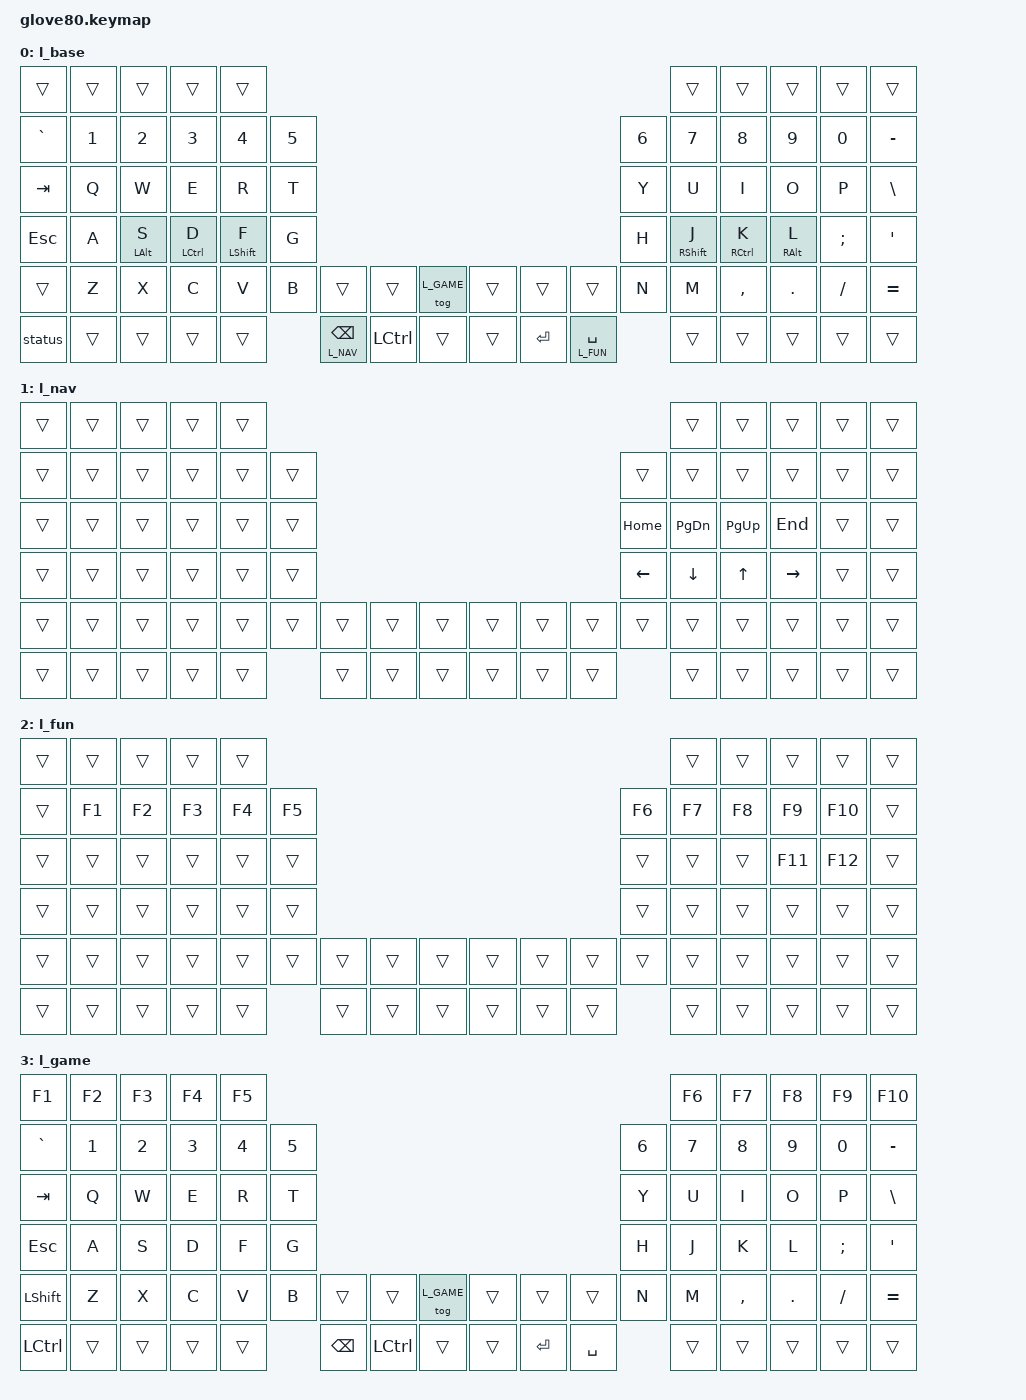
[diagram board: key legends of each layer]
/*
 * Copyright (c) 2020 The ZMK Contributors
 *
 * SPDX-License-Identifier: MIT
 */

#include <behaviors.dtsi>
#include <dt-bindings/zmk/bt.h>
#include <dt-bindings/zmk/keys.h>
#include <dt-bindings/zmk/outputs.h>
#include <dt-bindings/zmk/rgb.h>

// layers
#define L_BASE 0
#define L_NAV 1
#define L_FUN 2
#define L_GAME 3

// To deal with the situation where there is no Lower layer, to keep &lower happy
#ifndef L_Lower
#define L_Lower 0
#endif

// Aliases
#define HRM_S &hml LALT S
#define HRM_D &hml LCTRL D
#define HRM_F &qhml LSHFT F

#define HRM_J &qhmr RSHFT J
#define HRM_K &hmr RCTRL K
#define HRM_L &hmr RALT L

#define _________ &trans
#define NAV_BS &lt L_NAV BSPC
#define FUN_SPC &lt L_FUN SPACE
#define TOG_GAME &tog L_GAME

&caps_word {
    continue-list = <UNDERSCORE MINUS BACKSPACE DELETE>;
    mods = <MOD_LSFT>;
};

/ {
    behaviors {
        // For the "layer" key, it'd nice to be able to use it as either a shift or a toggle.
        // Configure it as a tap dance, so the first tap (or hold) is a &mo and the second tap is a &to
        lt: layer_tap {
            compatible = "zmk,behavior-hold-tap";
            #binding-cells = <2>;
            flavor = "tap-preferred";
            tapping-term-ms = <200>;
            bindings = <&mo>, <&kp>;
            display-name = "Layer-Tap";
        };

        hml: home_row_mod_left {
            compatible = "zmk,behavior-hold-tap";
            #binding-cells = <2>;
            flavor = "balanced";
            require-prior-idle-ms = <150>;
            tapping-term-ms = <280>;
            bindings = <&kp>, <&kp>;
            hold-trigger-key-positions = <
                            5  6  7  8  9
                         16 17 18 19 20 21
                         28 29 30 31 32 33
                         40 41 42 43 44 45
                55 55 57 58 59 60 61 62 63
                72 73 74    75 76 77 78 79
            >;
            hold-trigger-on-release;
        };

        hmr: home_row_mod_right {
            compatible = "zmk,behavior-hold-tap";
            #binding-cells = <2>;
            flavor = "balanced";
            require-prior-idle-ms = <150>;
            tapping-term-ms = <280>;
            quick-tap-ms = <175>;
            bindings = <&kp>, <&kp>;
            hold-trigger-key-positions = <
                   0  1  2  3  4
                10 11 12 13 14 15
                22 23 24 25 26 27
                34 35 36 37 38 39
                46 47 48 49 50 51 52 53 54
                64 65 66 67 68    69 70 71
            >;
            hold-trigger-on-release;
        };

        qhml: quick_home_row_mod_left {
            compatible = "zmk,behavior-hold-tap";
            #binding-cells = <2>;
            flavor = "balanced";
            tapping-term-ms = <235>;
            bindings = <&kp>, <&kp>;
            hold-trigger-key-positions = <
                            5  6  7  8  9
                         16 17 18 19 20 21
                         28 29 30 31 32 33
                         40 41 42 43 44 45
                55 55 57 58 59 60 61 62 63
                72 73 74    75 76 77 78 79
            >;
            hold-trigger-on-release;
        };

        qhmr: quick_home_row_mod_right {
            compatible = "zmk,behavior-hold-tap";
            #binding-cells = <2>;
            flavor = "balanced";
            tapping-term-ms = <235>;
            quick-tap-ms = <175>;
            bindings = <&kp>, <&kp>;
            hold-trigger-key-positions = <
                   0  1  2  3  4
                10 11 12 13 14 15
                22 23 24 25 26 27
                34 35 36 37 38 39
                46 47 48 49 50 51 52 53 54
                64 65 66 67 68    69 70 71
            >;
            hold-trigger-on-release;
        };
    };

    macros {
        status: rgb_ug_status_macro {
            compatible = "zmk,behavior-macro";
            #binding-cells = <0>;
            bindings = <&rgb_ug RGB_STATUS>;
        };
    };

    combos {
        compatible = "zmk,combos";

        combo_left_brace {
            key-positions = <48 49>;
            bindings = <&kp LBRC>;
        };

        combo_right_brace {
            key-positions = <49 50>;
            bindings = <&kp RBRC>;
        };

        combo_left_bracket {
            key-positions = <59 60>;
            bindings = <&kp LBKT>;
        };

        combo_right_bracket {
            key-positions = <60 61>;
            bindings = <&kp RBKT>;
        };

        combo_capsword {
            key-positions = <38 41>;
            bindings = <&caps_word>;
        };
    };

    keymap {
        compatible = "zmk,keymap";

        l_base {
            bindings = <
_________ _________ _________ _________ _________                                                                                 _________ _________ _________ _________ _________
&kp GRAVE &kp N1    &kp N2    &kp N3    &kp N4    &kp N5                                                                &kp N6    &kp N7    &kp N8    &kp N9    &kp N0    &kp MINUS
&kp TAB   &kp Q     &kp W     &kp E     &kp R     &kp T                                                                 &kp Y     &kp U     &kp I     &kp O     &kp P     &kp BSLH
&kp ESC   &kp A     HRM_S     HRM_D     HRM_F     &kp G                                                                 &kp H     HRM_J     HRM_K     HRM_L     &kp SEMI  &kp SQT
_________ &kp Z     &kp X     &kp C     &kp V     &kp B     _________ _________ TOG_GAME  _________ _________ _________ &kp N     &kp M     &kp COMMA &kp DOT   &kp FSLH  &kp EQUAL
&status   _________ _________ _________ _________           NAV_BS    &kp LCTRL _________ _________ &kp RET   FUN_SPC             _________ _________ _________ _________ _________
            >;
        };

        l_nav {
            bindings = <
_________ _________ _________ _________ _________                                                                                 _________ _________ _________ _________ _________
_________ _________ _________ _________ _________ _________                                                             _________ _________ _________ _________ _________ _________
_________ _________ _________ _________ _________ _________                                                             &kp HOME  &kp PG_DN &kp PG_UP &kp END   _________ _________
_________ _________ _________ _________ _________ _________                                                             &kp LEFT  &kp DOWN  &kp UP    &kp RIGHT _________ _________
_________ _________ _________ _________ _________ _________ _________ _________ _________ _________ _________ _________ _________ _________ _________ _________ _________ _________
_________ _________ _________ _________ _________           _________ _________ _________ _________ _________ _________           _________ _________ _________ _________ _________
            >;
        };

        l_fun {
            bindings = <
_________ _________ _________ _________ _________                                                                                 _________ _________ _________ _________ _________
_________ &kp F1    &kp F2    &kp F3    &kp F4    &kp F5                                                                &kp F6    &kp F7    &kp F8    &kp F9    &kp F10   _________
_________ _________ _________ _________ _________ _________                                                             _________ _________ _________ &kp F11   &kp F12   _________
_________ _________ _________ _________ _________ _________                                                             _________ _________ _________ _________ _________ _________
_________ _________ _________ _________ _________ _________ _________ _________ _________ _________ _________ _________ _________ _________ _________ _________ _________ _________
_________ _________ _________ _________ _________           _________ _________ _________ _________ _________ _________ _________           _________ _________ _________ _________
            >;
        };

        l_game {
            bindings = <
&kp F1    &kp F2    &kp F3    &kp F4    &kp F5                                                                                    &kp F6    &kp F7    &kp F8    &kp F9    &kp F10
&kp GRAVE &kp N1    &kp N2    &kp N3    &kp N4    &kp N5                                                                &kp N6    &kp N7    &kp N8    &kp N9    &kp N0    &kp MINUS
&kp TAB   &kp Q     &kp W     &kp E     &kp R     &kp T                                                                 &kp Y     &kp U     &kp I     &kp O     &kp P     &kp BSLH
&kp ESC   &kp A     &kp S     &kp D     &kp F     &kp G                                                                 &kp H     &kp J     &kp K     &kp L     &kp SEMI  &kp SQT
&kp LSHFT &kp Z     &kp X     &kp C     &kp V     &kp B     _________ _________ TOG_GAME  _________ _________ _________ &kp N     &kp M     &kp COMMA &kp DOT   &kp FSLH  &kp EQUAL
&kp LCTRL _________ _________ _________ _________           &kp BSPC  &kp LCTRL _________ _________ &kp RET   &kp SPACE           _________ _________ _________ _________ _________
            >;
        };
    };
};
